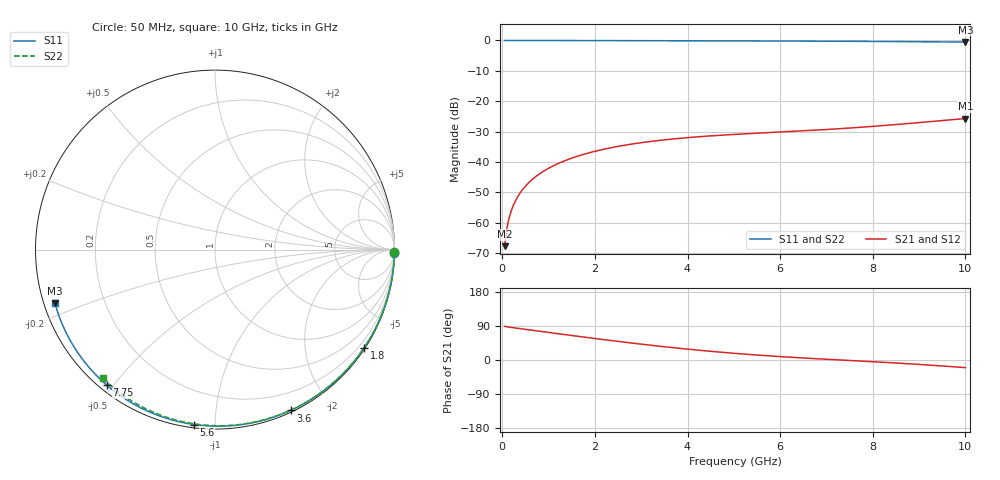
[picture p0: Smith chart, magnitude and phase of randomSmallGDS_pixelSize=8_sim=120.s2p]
! freq	dB(S11)	phase(S11)	dB(S12)	phase(S12)
!  dB(S21)	phase(S21)	dB(S22)	phase(S22)
!S-par simulation data
#  GHz  S  DB  R 50
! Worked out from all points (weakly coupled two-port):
!   200 points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, 50 MHz to 10 GHz, reference 50 ohm
!   highest |S21| = -25.69 dB at 10 GHz (marker M1); lowest = -67.7 dB at 50 MHz (marker M2)
!   lowest |S11| = -0.5 dB at 10 GHz (marker M3), VSWR 32.47, Z = 1.58 - j8.12 ohm
!   |S11| at or under -10 dB: nowhere
!   |S22| runs from -0.4 to 0.0 dB; largest |S21 - S12| = 0
!   S11 on the Smith chart (normalised r, x): 50 MHz: open; 1.8 GHz: 0.03, -3.33; 3.6 GHz: 0.02, -1.57; 5.6 GHz: 0.02, -0.89; 7.75 GHz: 0.02, -0.48; 10 GHz: 0.03, -0.16
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0.05  -0.00 -0.9  -67.69 88.8  -67.69 88.8  -0.00 -0.8
0.1  -0.00 -1.9  -61.71 87.7  -61.71 87.7  -0.00 -1.5
0.15  -0.00 -2.8  -58.23 86.7  -58.23 86.7  -0.00 -2.3
0.2  -0.00 -3.8  -55.77 85.8  -55.77 85.8  -0.00 -3.1
0.35  -0.00 -6.6  -50.98 83.3  -50.98 83.3  -0.00 -5.4
0.5  -0.01 -9.4  -47.93 80.9  -47.93 80.9  -0.01 -7.7
0.7  -0.01 -13.2  -45.06 77.7  -45.06 77.7  -0.01 -10.7
1  -0.02 -18.7  -42.05 72.8  -42.05 72.8  -0.02 -15.3
1.35  -0.03 -25.2  -39.57 67.1  -39.57 67.1  -0.03 -20.6
1.75  -0.04 -32.5  -37.50 60.6  -37.50 60.6  -0.03 -26.5
1.8  -0.04 -33.4  -37.28 59.9  -37.28 59.9  -0.04 -27.3
2.6  -0.06 -47.7  -34.58 47.6  -34.58 47.6  -0.05 -39.0
3.4  -0.08 -61.5  -32.87 36.3  -32.87 36.3  -0.07 -50.4
3.6  -0.09 -64.8  -32.55 33.7  -32.55 33.7  -0.07 -53.2
4.3  -0.11 -76.4  -31.62 25.2  -31.62 25.2  -0.09 -62.8
5.05  -0.14 -88.3  -30.89 17.2  -30.89 17.2  -0.11 -72.8
5.6  -0.16 -96.8  -30.44 12.2  -30.44 12.2  -0.13 -79.9
6.7  -0.22 -113.3  -29.57 3.9  -29.57 3.9  -0.18 -93.5
7.75  -0.30 -128.6  -28.56 -2.8  -28.56 -2.8  -0.24 -105.9
8.35  -0.35 -137.3  -27.86 -6.8  -27.86 -6.8  -0.29 -112.8
9.2  -0.44 -149.6  -26.77 -13.2  -26.77 -13.2  -0.36 -122.3
10  -0.54 -161.5  -25.69 -20.1  -25.69 -20.1  -0.44 -131.2
